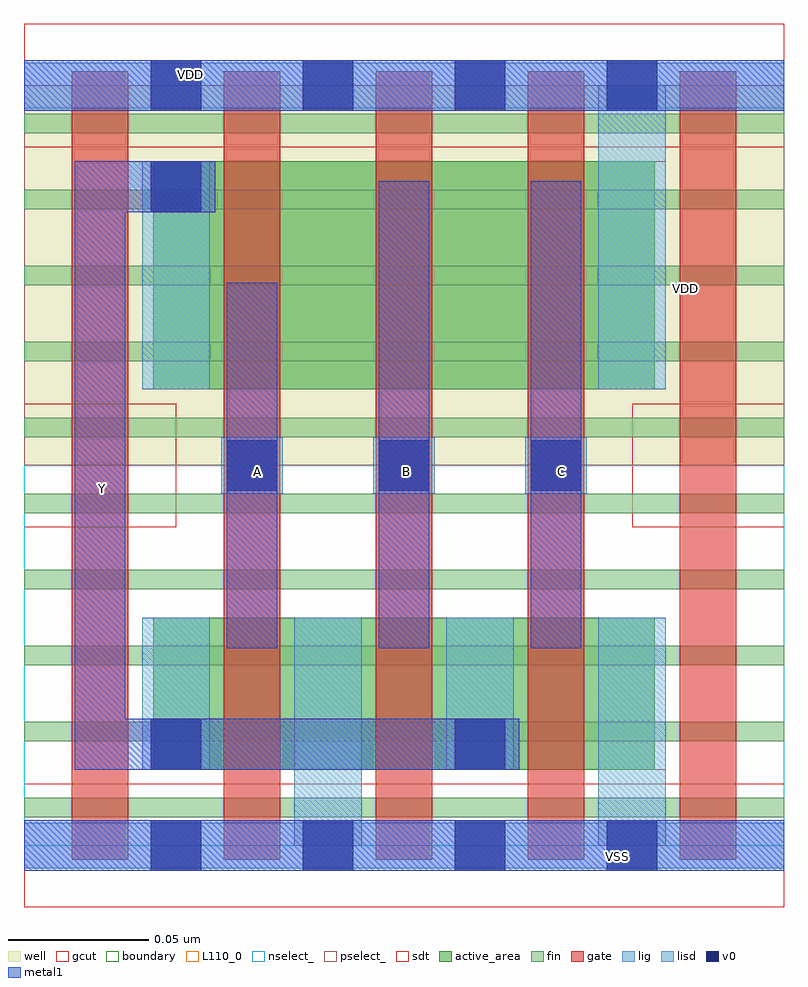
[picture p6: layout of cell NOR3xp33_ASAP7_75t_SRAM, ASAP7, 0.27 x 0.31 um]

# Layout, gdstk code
import gdstk
lib = gdstk.Library(unit=1e-6, precision=1e-09)
def R(c, l, rs):  # rectangles x0, y0, x1, y1
    for r in rs: c.add(gdstk.rectangle(r[:2], r[2:], *l))
def A(c, l, x, y, w, h, nx, ny, dx, dy):  # array of equal rectangles
    R(c, l, [(x+i*dx, y+j*dy, x+i*dx+w, y+j*dy+h) for i in range(nx) for j in range(ny)])
def P(c, l, *ps):  # polygons
    for p in ps: c.add(gdstk.Polygon(p, *l))
well = (1, 0)
fin = (2, 0)
gate = (7, 0)
gcut = (10, 0)
active_area = (11, 0)
nselect_ = (12, 0)
pselect_ = (13, 0)
lig = (16, 0)
lisd = (17, 0)
v0 = (18, 0)
metal1 = (19, 0)
sdt = (88, 0)
boundary = (100, 0)
L110_0 = (110, 0)

nor3xp33_asap7_75t_sram = lib.new_cell('NOR3xp33_ASAP7_75t_SRAM')
R(nor3xp33_asap7_75t_sram, well, [(0,0.135,0.27,0.27)])
A(nor3xp33_asap7_75t_sram, fin, 0, 0.01, 0.27, 0.007, 1, 10, 0, 0.027)
A(nor3xp33_asap7_75t_sram, gate, 0.017, -0.005, 0.02, 0.28, 5, 1, 0.054, 0)
R(nor3xp33_asap7_75t_sram, gcut, [(0,-0.022,0.27,0.022), (0,0.113,0.054,0.157), (0.216,0.113,0.27,0.157), (0,0.248,0.27,0.292)])
R(nor3xp33_asap7_75t_sram, active_area, [(0.046,0.027,0.224,0.081), (0.046,0.162,0.224,0.243)])
R(nor3xp33_asap7_75t_sram, nselect_, [(0,0,0.27,0.135)])
R(nor3xp33_asap7_75t_sram, pselect_, [(0,0.135,0.27,0.27)])
A(nor3xp33_asap7_75t_sram, lig, 0.07, 0.125, 0.022, 0.02, 3, 1, 0.054, 0)
R(nor3xp33_asap7_75t_sram, lig, [(0,-0.008,0.27,0.008), (0,0.262,0.27,0.278)])
R(nor3xp33_asap7_75t_sram, lisd, [(0.096,0,0.12,0.081), (0.204,0,0.228,0.081), (0.042,0.027,0.066,0.081), (0.15,0.027,0.174,0.081), (0.042,0.162,0.066,0.243), (0.204,0.162,0.228,0.27)])
A(nor3xp33_asap7_75t_sram, v0, 0.045, -0.009, 0.018, 0.018, 4, 2, 0.054, 0.27)
A(nor3xp33_asap7_75t_sram, v0, 0.072, 0.126, 0.018, 0.018, 3, 1, 0.054, 0)
R(nor3xp33_asap7_75t_sram, v0, [(0.045,0.027,0.063,0.045), (0.153,0.027,0.171,0.045), (0.045,0.225,0.063,0.243)])
R(nor3xp33_asap7_75t_sram, metal1, [(0,-0.009,0.27,0.009), (0.072,0.07,0.09,0.2), (0.126,0.07,0.144,0.236), (0.18,0.07,0.198,0.236), (0,0.261,0.27,0.279)])
P(nor3xp33_asap7_75t_sram, metal1, [(0.176,0.027),(0.018,0.027),(0.018,0.243),(0.068,0.243),(0.068,0.225),(0.036,0.225),(0.036,0.045),(0.176,0.045)])
A(nor3xp33_asap7_75t_sram, sdt, 0.042, 0.027, 0.024, 0.054, 4, 1, 0.054, 0)
R(nor3xp33_asap7_75t_sram, sdt, [(0.042,0.162,0.066,0.243), (0.204,0.162,0.228,0.243)])
R(nor3xp33_asap7_75t_sram, boundary, [(0,0,0.27,0.27)])
R(nor3xp33_asap7_75t_sram, L110_0, [(0,0,0.27,0.27)])
nor3xp33_asap7_75t_sram.add(gdstk.Label('VSS', (0.146,-0.055), layer=3, texttype=251))
nor3xp33_asap7_75t_sram.add(gdstk.Label('VDD', (0.235,0.198), layer=1, texttype=251))
nor3xp33_asap7_75t_sram.add(gdstk.Label('VDD', (0.059,0.274), layer=19, texttype=251))
nor3xp33_asap7_75t_sram.add(gdstk.Label('VSS', (0.211,-0.004), layer=19, texttype=251))
nor3xp33_asap7_75t_sram.add(gdstk.Label('Y', (0.028,0.127), layer=19, texttype=251))
nor3xp33_asap7_75t_sram.add(gdstk.Label('C', (0.191,0.133), layer=19, texttype=251))
nor3xp33_asap7_75t_sram.add(gdstk.Label('B', (0.136,0.133), layer=19, texttype=251))
nor3xp33_asap7_75t_sram.add(gdstk.Label('A', (0.083,0.133), layer=19, texttype=251))

lib.write_gds('NOR3xp33_ASAP7_75t_SRAM.gds')
